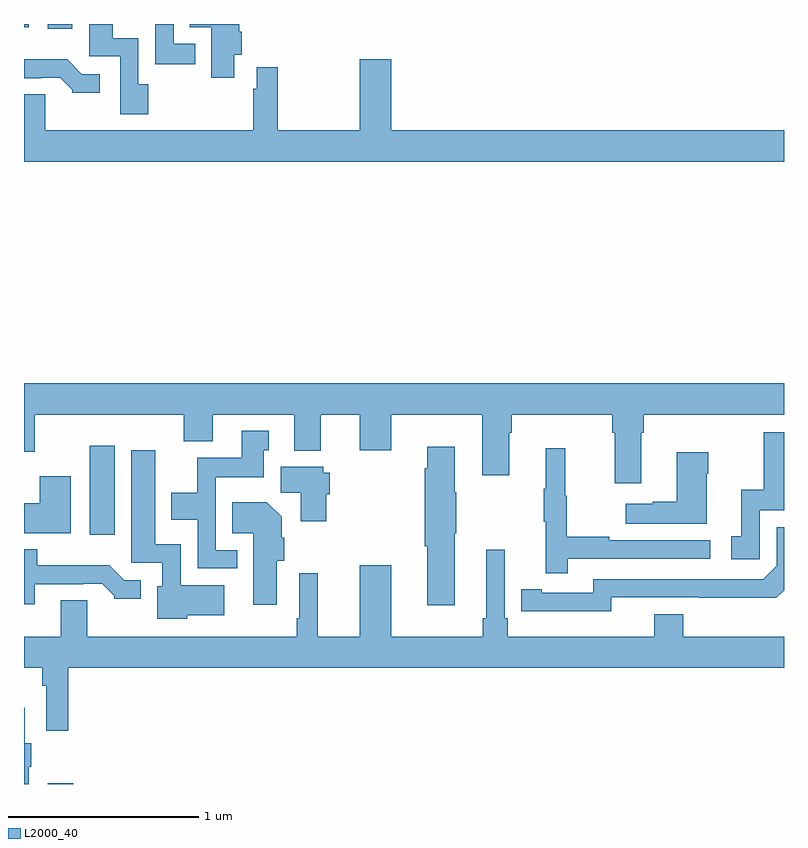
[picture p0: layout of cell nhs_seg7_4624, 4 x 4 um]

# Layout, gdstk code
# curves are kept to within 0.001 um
import gdstk
lib = gdstk.Library(unit=1e-6, precision=1e-09)
def R(c, l, rs):  # rectangles x0, y0, x1, y1
    for r in rs: c.add(gdstk.rectangle(r[:2], r[2:], *l))
def P(c, l, *ps):  # polygons
    for p in ps: c.add(gdstk.Polygon(p, *l))
L2000_40 = (2000, 40)

nhs_seg7_4624 = lib.new_cell('nhs_seg7_4624')
R(nhs_seg7_4624, L2000_40, [(403.124,1004,403.259,1004.005), (403.346,1005.312,403.477,1005.781), (403.124,1007.976,403.255,1008), (403,1007.984,403.024,1008)])
P(nhs_seg7_4624, L2000_40, [(403.9,1007.895),(403.788,1007.895),(403.788,1008),(403.692,1008),(403.692,1007.787),(403.9,1007.787)],
  [(404.107,1007.838),(404.147,1007.838),(404.147,1007.96),(404.134,1007.96),(404.134,1008),(403.873,1008),(403.873,1007.984),(403.985,1007.984),(403.985,1007.718),(404.107,1007.718)],
  [(403.655,1007.682),(403.602,1007.682),(403.602,1007.926),(403.468,1007.926),(403.468,1008),(403.343,1008),(403.343,1007.829),(403.506,1007.829),(403.506,1007.526),(403.655,1007.526)],
  [(407,1007.44),(404.932,1007.44),(404.932,1007.815),(404.768,1007.815),(404.768,1007.44),(404.335,1007.44),(404.335,1007.773),(404.226,1007.773),(404.226,1007.66),(404.206,1007.66),(404.206,1007.44),(403.111,1007.44),(403.111,1007.63),(403,1007.63),(403,1007.276),(407,1007.276)],
  [(403.399,1007.736),(403.305,1007.736),(403.227,1007.815),(403,1007.815),(403,1007.715),(403.091,1007.715),(403.091,1007.718),(403.19,1007.718),(403.254,1007.654),(403.254,1007.639),(403.399,1007.639)],
  [(406.249,1005.848),(406.262,1005.848),(406.262,1005.944),(407,1005.944),(407,1006.108),(403,1006.108),(403,1005.75),(403.057,1005.75),(403.057,1005.944),(403.841,1005.944),(403.841,1005.803),(403.993,1005.803),(403.993,1005.944),(404.423,1005.944),(404.423,1005.755),(404.563,1005.755),(404.563,1005.944),(404.768,1005.944),(404.768,1005.756),(404.932,1005.756),(404.932,1005.944),(405.413,1005.944),(405.413,1005.624),(405.553,1005.624),(405.553,1005.848),(405.566,1005.848),(405.566,1005.944),(406.097,1005.944),(406.097,1005.848),(406.109,1005.848),(406.109,1005.582),(406.249,1005.582)],
  [(404.122,1005.231),(404.01,1005.231),(404.01,1005.614),(404.263,1005.614),(404.263,1005.756),(404.287,1005.756),(404.287,1005.859),(404.147,1005.859),(404.147,1005.718),(403.912,1005.718),(403.912,1005.532),(403.775,1005.532),(403.775,1005.392),(403.914,1005.392),(403.914,1005.135),(404.122,1005.135)],
  [(406.872,1005.441),(407,1005.441),(407,1005.852),(406.893,1005.852),(406.893,1005.55),(406.775,1005.55),(406.775,1005.303),(406.722,1005.303),(406.722,1005.183),(406.872,1005.183)],
  [(405.268,1005.319),(405.276,1005.319),(405.276,1005.536),(405.268,1005.536),(405.268,1005.775),(405.122,1005.775),(405.122,1005.662),(405.11,1005.662),(405.11,1005.252),(405.122,1005.252),(405.122,1004.94),(405.268,1004.94)],
  [(405.863,1005.186),(406.612,1005.186),(406.612,1005.282),(406.079,1005.282),(406.079,1005.302),(405.856,1005.302),(405.856,1005.516),(405.848,1005.516),(405.848,1005.766),(405.746,1005.766),(405.746,1005.553),(405.735,1005.553),(405.735,1005.379),(405.746,1005.379),(405.746,1005.108),(405.863,1005.108)],
  [(403.86,1004.888),(404.053,1004.888),(404.053,1005.046),(403.824,1005.046),(403.824,1005.262),(403.69,1005.262),(403.69,1005.757),(403.565,1005.757),(403.565,1005.165),(403.728,1005.165),(403.728,1005.042),(403.7,1005.042),(403.7,1004.87),(403.86,1004.87)],
  [(406.594,1005.632),(406.602,1005.632),(406.602,1005.745),(406.436,1005.745),(406.436,1005.485),(406.31,1005.485),(406.31,1005.475),(406.167,1005.475),(406.167,1005.371),(406.594,1005.371)],
  [(404.591,1005.525),(404.609,1005.525),(404.609,1005.639),(404.574,1005.639),(404.574,1005.67),(404.351,1005.67),(404.351,1005.532),(404.456,1005.532),(404.456,1005.384),(404.591,1005.384)],
  [(403.246,1005.619),(403.082,1005.619),(403.082,1005.478),(403,1005.478),(403,1005.32),(403.246,1005.32)],
  [(404.329,1005.174),(404.369,1005.174),(404.369,1005.296),(404.356,1005.296),(404.356,1005.406),(404.278,1005.484),(404.095,1005.484),(404.095,1005.32),(404.207,1005.32),(404.207,1004.943),(404.329,1004.943)],
  [(406.092,1004.982),(406.96,1004.981),(407,1005.021),(407,1005.351),(406.962,1005.351),(406.962,1005.15),(406.89,1005.078),(405.996,1005.078),(405.996,1005.006),(405.724,1005.006),(405.724,1005.026),(405.616,1005.026),(405.616,1004.91),(406.092,1004.909)],
  [(403.057,1005.051),(403.313,1005.051),(403.313,1005.054),(403.412,1005.054),(403.476,1004.99),(403.476,1004.975),(403.615,1004.975),(403.615,1005.072),(403.527,1005.072),(403.449,1005.151),(403.07,1005.151),(403.07,1005.235),(403,1005.235),(403,1004.946),(403.057,1004.946)],
  [(403.232,1004.612),(407,1004.612),(407,1004.776),(406.469,1004.776),(406.469,1004.893),(406.316,1004.893),(406.316,1004.776),(405.545,1004.776),(405.545,1004.872),(405.531,1004.872),(405.531,1005.232),(405.434,1005.232),(405.434,1004.872),(405.415,1004.872),(405.415,1004.776),(404.932,1004.776),(404.932,1005.151),(404.768,1005.151),(404.768,1004.776),(404.547,1004.776),(404.547,1005.109),(404.448,1005.109),(404.448,1004.872),(404.436,1004.872),(404.436,1004.776),(403.333,1004.776),(403.333,1004.966),(403.193,1004.966),(403.193,1004.776),(403,1004.776),(403,1004.612),(403.096,1004.612),(403.096,1004.516),(403.116,1004.516),(403.116,1004.28),(403.232,1004.28)],
  [(403.024,1004.092),(403.037,1004.092),(403.037,1004.214),(403.003,1004.214),(403.003,1004.401),(403,1004.401),(403,1004),(403.024,1004)])

lib.write_gds('nhs_seg7_4624.gds')
